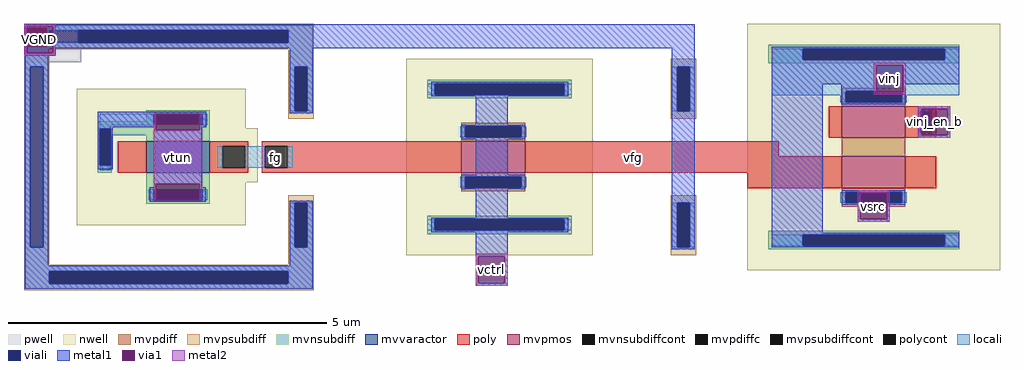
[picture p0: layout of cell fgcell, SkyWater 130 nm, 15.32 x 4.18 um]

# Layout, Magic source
magic
tech sky130A
magscale 1 2
<< nwell >>
rect -1704 198 -1174 322
rect -1704 28 -1136 198
rect -1704 -106 -1174 28
rect -670 -200 -84 416
rect 400 -248 1194 526
<< pwell >>
rect -1870 406 -1690 526
<< mvpmos >>
rect 697 168 897 268
rect -497 58 -297 158
rect 697 10 897 110
<< mvvaractor >>
rect -1487 58 -1287 158
<< mvpdiff >>
rect 697 314 897 326
rect 697 280 709 314
rect 885 280 897 314
rect 697 268 897 280
rect -497 204 -297 216
rect -497 170 -485 204
rect -309 170 -297 204
rect -497 158 -297 170
rect 697 110 897 168
rect -497 46 -297 58
rect -497 12 -485 46
rect -309 12 -297 46
rect -497 0 -297 12
rect 697 -2 897 10
rect 697 -36 709 -2
rect 885 -36 897 -2
rect 697 -48 897 -36
<< mvpdiffc >>
rect 709 280 885 314
rect -485 170 -309 204
rect -485 12 -309 46
rect 709 -36 885 -2
<< mvpsubdiff >>
rect -1870 506 -960 526
rect -1870 466 -1790 506
rect -1040 466 -960 506
rect -1870 446 -960 466
rect -1870 -230 -1790 446
rect -1040 392 -960 446
rect -1040 252 -1020 392
rect -980 252 -960 392
rect 160 392 240 416
rect -1040 228 -960 252
rect 160 252 180 392
rect 220 252 240 392
rect 160 228 240 252
rect -1040 -36 -960 -12
rect -1040 -176 -1020 -36
rect -980 -176 -960 -36
rect 160 -36 240 -12
rect -1040 -230 -960 -176
rect 160 -176 180 -36
rect 220 -176 240 -36
rect 160 -200 240 -176
rect -1870 -250 -960 -230
rect -1870 -290 -1790 -250
rect -1040 -290 -960 -250
rect -1870 -310 -960 -290
<< mvnsubdiff >>
rect 466 448 1066 460
rect -1487 243 -1287 255
rect -1487 220 -1463 243
rect -1638 209 -1463 220
rect -1311 209 -1287 243
rect 466 414 574 448
rect 1020 414 1066 448
rect 466 402 1066 414
rect -604 338 -150 350
rect -604 304 -580 338
rect -174 304 -150 338
rect -604 292 -150 304
rect -1638 196 -1287 209
rect -1638 82 -1632 196
rect -1598 176 -1287 196
rect -1598 82 -1594 176
rect -1487 158 -1287 176
rect -1638 58 -1594 82
rect -1487 7 -1287 58
rect -1487 -27 -1463 7
rect -1311 -27 -1287 7
rect -1487 -39 -1287 -27
rect -604 -88 -150 -76
rect -604 -122 -580 -88
rect -174 -122 -150 -88
rect -604 -134 -150 -122
rect 466 -136 1066 -124
rect 466 -170 574 -136
rect 1020 -170 1066 -136
rect 466 -182 1066 -170
<< mvpsubdiffcont >>
rect -1790 466 -1040 506
rect -1020 252 -980 392
rect 180 252 220 392
rect -1020 -176 -980 -36
rect 180 -176 220 -36
rect -1790 -290 -1040 -250
<< mvnsubdiffcont >>
rect -1463 209 -1311 243
rect 574 414 1020 448
rect -580 304 -174 338
rect -1632 82 -1598 196
rect -1463 -27 -1311 7
rect -580 -122 -174 -88
rect 574 -170 1020 -136
<< poly >>
rect 656 168 697 268
rect 897 252 994 268
rect 897 184 944 252
rect 978 184 994 252
rect 897 168 994 184
rect -1575 58 -1487 158
rect -1287 142 -1166 158
rect -1287 74 -1248 142
rect -1176 74 -1166 142
rect -1287 58 -1166 74
rect -1124 142 -497 158
rect -1124 74 -1114 142
rect -1042 74 -497 142
rect -1124 58 -497 74
rect -297 110 500 158
rect -297 58 697 110
rect 400 10 697 58
rect 897 10 994 110
<< polycont >>
rect 944 184 978 252
rect -1248 74 -1176 142
rect -1114 74 -1042 142
<< locali >>
rect -1866 512 -964 522
rect -1866 454 -1856 512
rect -1798 506 -964 512
rect -1798 466 -1790 506
rect -1040 466 -964 506
rect -1798 454 -964 466
rect -1866 450 -964 454
rect -1866 392 -1794 450
rect -1866 -176 -1850 392
rect -1810 -176 -1794 392
rect -1036 392 -964 450
rect 478 414 574 448
rect 1020 414 1066 448
rect -1036 252 -1020 392
rect -980 252 -964 392
rect -604 304 -580 338
rect -174 304 -150 338
rect 164 252 180 392
rect 220 252 236 392
rect 478 314 1066 414
rect 478 302 709 314
rect 693 280 709 302
rect 885 302 1066 314
rect 885 280 901 302
rect 944 252 978 268
rect -1632 243 -1294 244
rect -1632 209 -1463 243
rect -1311 209 -1294 243
rect -1632 208 -1294 209
rect -1632 196 -1598 208
rect -501 170 -485 204
rect -309 170 -293 204
rect 944 168 978 184
rect -1632 66 -1598 82
rect -1264 74 -1248 142
rect -1176 74 -1114 142
rect -1042 74 -1026 142
rect -501 12 -485 46
rect -309 12 -293 46
rect -1479 -27 -1463 7
rect -1311 -27 -1295 7
rect 693 -36 709 -2
rect 885 -36 901 -2
rect -1866 -234 -1794 -176
rect -1036 -176 -1020 -36
rect -980 -176 -964 -36
rect -604 -122 -580 -88
rect -174 -122 -150 -88
rect 164 -176 180 -36
rect 220 -176 236 -36
rect 478 -170 574 -136
rect 1020 -170 1066 -136
rect -1036 -234 -964 -176
rect -1866 -250 -964 -234
rect -1866 -290 -1790 -250
rect -1040 -290 -964 -250
rect -1866 -306 -964 -290
<< viali >>
rect -1856 454 -1798 512
rect -1700 466 -1040 506
rect -1850 -176 -1810 392
rect 574 414 1020 448
rect -1020 252 -980 392
rect -580 304 -174 338
rect 180 252 220 392
rect 709 280 885 314
rect -1463 209 -1311 243
rect -1632 82 -1598 196
rect -485 170 -309 204
rect 944 184 978 252
rect -485 12 -309 46
rect -1463 -27 -1311 7
rect 709 -36 885 -2
rect -1020 -176 -980 -36
rect -580 -122 -174 -88
rect 180 -176 220 -36
rect 574 -170 1020 -136
rect -1790 -290 -1040 -250
<< metal1 >>
rect -1868 518 236 524
rect -1868 434 -1862 518
rect -1778 506 236 518
rect -1778 466 -1700 506
rect -1040 466 236 506
rect -1778 450 236 466
rect -1778 434 -1772 450
rect -1868 428 -1772 434
rect -1868 392 -1794 428
rect -1868 -176 -1850 392
rect -1810 -176 -1794 392
rect -1036 392 -964 450
rect -1036 252 -1020 392
rect -980 252 -964 392
rect 164 392 236 450
rect -592 338 -162 344
rect -592 304 -580 338
rect -174 304 -162 338
rect -592 298 -162 304
rect -1638 244 -1298 250
rect -1036 246 -964 252
rect -1638 243 -1456 244
rect -1318 243 -1298 244
rect -1638 209 -1463 243
rect -1311 209 -1298 243
rect -452 210 -352 298
rect 164 252 180 392
rect 220 252 236 392
rect -1638 202 -1456 209
rect -1638 196 -1592 202
rect -1638 82 -1632 196
rect -1598 82 -1592 196
rect -1638 70 -1592 82
rect -1463 192 -1456 202
rect -1318 202 -1298 209
rect -497 204 -297 210
rect -1318 192 -1311 202
rect -1463 24 -1311 192
rect -497 170 -485 204
rect -309 170 -297 204
rect -497 164 -297 170
rect -452 52 -352 164
rect -1463 13 -1456 24
rect -1475 7 -1456 13
rect -1318 13 -1311 24
rect -497 46 -297 52
rect -1318 7 -1299 13
rect -1475 -27 -1463 7
rect -1311 -27 -1299 7
rect -497 12 -485 46
rect -309 12 -297 46
rect -497 6 -297 12
rect -1475 -28 -1456 -27
rect -1318 -28 -1299 -27
rect -1475 -33 -1299 -28
rect -1868 -234 -1794 -176
rect -1036 -36 -964 -30
rect -1036 -176 -1020 -36
rect -980 -176 -964 -36
rect -452 -82 -352 6
rect 164 -36 236 252
rect -592 -88 -162 -82
rect -592 -122 -580 -88
rect -174 -122 -162 -88
rect -592 -128 -162 -122
rect -1036 -234 -964 -176
rect -1868 -250 -964 -234
rect -1868 -290 -1790 -250
rect -1040 -290 -964 -250
rect -1868 -306 -964 -290
rect -452 -204 -352 -128
rect 164 -176 180 -36
rect 220 -176 236 -36
rect 478 448 1066 454
rect 478 414 574 448
rect 1020 414 1066 448
rect 478 396 1066 414
rect 478 336 806 396
rect 478 -130 638 336
rect 696 314 806 336
rect 890 336 1066 396
rect 696 280 709 314
rect 890 312 898 336
rect 885 280 898 312
rect 696 274 898 280
rect 938 260 1038 268
rect 938 252 946 260
rect 938 184 944 252
rect 938 176 946 184
rect 1030 176 1038 260
rect 938 168 1038 176
rect 697 -2 897 4
rect 697 -36 709 -2
rect 885 -36 897 -2
rect 697 -42 756 -36
rect 748 -88 756 -42
rect 840 -42 897 -36
rect 840 -88 848 -42
rect 748 -96 848 -88
rect 478 -136 1066 -130
rect 478 -170 574 -136
rect 1020 -170 1066 -136
rect 478 -176 1066 -170
rect 164 -182 236 -176
rect -452 -288 -444 -204
rect -360 -288 -352 -204
rect -452 -296 -352 -288
<< via1 >>
rect -1862 512 -1778 518
rect -1862 454 -1856 512
rect -1856 454 -1798 512
rect -1798 454 -1778 512
rect -1862 434 -1778 454
rect -1456 243 -1318 244
rect -1456 209 -1318 243
rect -1456 192 -1318 209
rect -1456 7 -1318 24
rect -1456 -27 -1318 7
rect -1456 -28 -1318 -27
rect 806 314 890 396
rect 806 312 885 314
rect 885 312 890 314
rect 946 252 1030 260
rect 946 184 978 252
rect 978 184 1030 252
rect 946 176 1030 184
rect 756 -36 840 -4
rect 756 -88 840 -36
rect -444 -288 -360 -204
<< metal2 >>
rect -1870 518 -1770 526
rect -1870 434 -1862 518
rect -1778 434 -1770 518
rect -1870 426 -1770 434
rect 798 396 898 404
rect 798 312 806 396
rect 890 312 898 396
rect 798 304 898 312
rect 938 260 1038 268
rect -1462 192 -1456 244
rect -1318 192 -1312 244
rect -1462 24 -1312 192
rect 938 176 946 260
rect 1030 176 1038 260
rect 938 168 1038 176
rect -1462 -28 -1456 24
rect -1318 -28 -1312 24
rect 748 -4 848 4
rect 748 -88 756 -4
rect 840 -88 848 -4
rect 748 -96 848 -88
rect -452 -204 -352 -196
rect -452 -288 -444 -204
rect -360 -288 -352 -204
rect -452 -296 -352 -288
<< labels >>
flabel poly -1104 58 -1054 158 0 FreeSans 480 0 0 0 fg
flabel metal2 -452 -296 -352 -196 0 FreeSans 480 0 0 0 vctrl
port 3 nsew analog input
flabel metal2 748 -96 848 4 0 FreeSans 480 0 0 0 vsrc
port 4 nsew signal input
flabel metal2 798 304 898 404 0 FreeSans 480 0 0 0 vinj
port 0 nsew power default
flabel poly -6 58 94 158 0 FreeSans 320 0 0 0 vfg
port 6 nsew
flabel metal2 -1870 426 -1770 526 0 FreeSans 480 0 0 0 VGND
port 5 nsew ground default
flabel metal2 -1462 -28 -1312 244 0 FreeSans 480 0 0 0 vtun
port 2 nsew analog input
flabel metal2 938 168 1038 268 0 FreeSans 480 180 0 0 vinj_en_b
port 1 nsew signal input
<< properties >>
string FIXED_BBOX -2010 -510 1394 726
<< end >>
